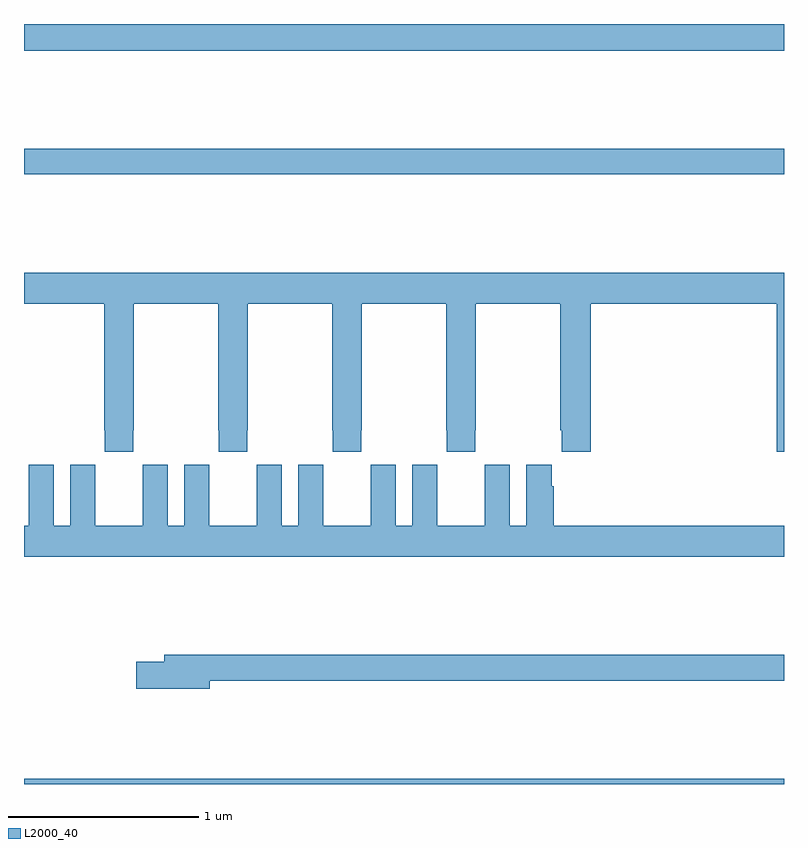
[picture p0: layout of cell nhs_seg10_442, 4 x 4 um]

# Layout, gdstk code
import gdstk
lib = gdstk.Library(unit=1e-6, precision=1e-09)
def R(c, l, rs):  # rectangles x0, y0, x1, y1
    for r in rs: c.add(gdstk.rectangle(r[:2], r[2:], *l))
def P(c, l, *ps):  # polygons
    for p in ps: c.add(gdstk.Polygon(p, *l))
L2000_40 = (2000, 40)

nhs_seg10_442 = lib.new_cell('nhs_seg10_442')
R(nhs_seg10_442, L2000_40, [(133,1252.5,137,1252.528), (133,1255.708,137,1255.844), (133,1256.36,137,1256.5)])
P(nhs_seg10_442, L2000_40, [(133.575,1254.361),(133.578,1254.361),(133.578,1255.028),(134.023,1255.028),(134.023,1254.361),(134.025,1254.361),(134.025,1254.249),(134.175,1254.249),(134.175,1254.361),(134.178,1254.361),(134.178,1255.028),(134.623,1255.028),(134.623,1254.361),(134.625,1254.361),(134.625,1254.249),(134.775,1254.249),(134.775,1254.361),(134.778,1254.361),(134.778,1255.028),(135.223,1255.028),(135.223,1254.361),(135.225,1254.361),(135.225,1254.249),(135.375,1254.249),(135.375,1254.361),(135.378,1254.361),(135.378,1255.028),(135.823,1255.028),(135.823,1254.361),(135.829,1254.361),(135.829,1254.249),(135.983,1254.249),(135.983,1255.028),(136.961,1255.028),(136.961,1254.249),(137,1254.249),(137,1255.192),(133,1255.192),(133,1255.028),(133.423,1255.028),(133.423,1254.361),(133.425,1254.361),(133.425,1254.249),(133.575,1254.249)],
  [(137,1253.86),(135.788,1253.86),(135.788,1254.068),(135.778,1254.068),(135.778,1254.181),(135.644,1254.181),(135.644,1253.86),(135.556,1253.86),(135.556,1254.181),(135.426,1254.181),(135.426,1254.068),(135.425,1254.068),(135.425,1253.86),(135.175,1253.86),(135.175,1254.068),(135.174,1254.068),(135.174,1254.181),(135.044,1254.181),(135.044,1253.86),(134.956,1253.86),(134.956,1254.181),(134.826,1254.181),(134.826,1254.068),(134.825,1254.068),(134.825,1253.86),(134.575,1253.86),(134.575,1254.068),(134.574,1254.068),(134.574,1254.181),(134.444,1254.181),(134.444,1253.86),(134.356,1253.86),(134.356,1254.181),(134.226,1254.181),(134.226,1254.068),(134.225,1254.068),(134.225,1253.86),(133.975,1253.86),(133.975,1254.068),(133.974,1254.068),(133.974,1254.181),(133.844,1254.181),(133.844,1253.86),(133.756,1253.86),(133.756,1254.181),(133.626,1254.181),(133.626,1254.068),(133.625,1254.068),(133.625,1253.86),(133.375,1253.86),(133.375,1254.068),(133.374,1254.068),(133.374,1254.181),(133.244,1254.181),(133.244,1253.86),(133.156,1253.86),(133.156,1254.181),(133.026,1254.181),(133.026,1254.068),(133.025,1254.068),(133.025,1253.86),(133,1253.86),(133,1253.696),(137,1253.696)],
  [(133.978,1253.044),(137,1253.044),(137,1253.18),(133.739,1253.18),(133.739,1253.144),(133.59,1253.144),(133.59,1253.002),(133.978,1253.002)])

lib.write_gds('nhs_seg10_442.gds')
